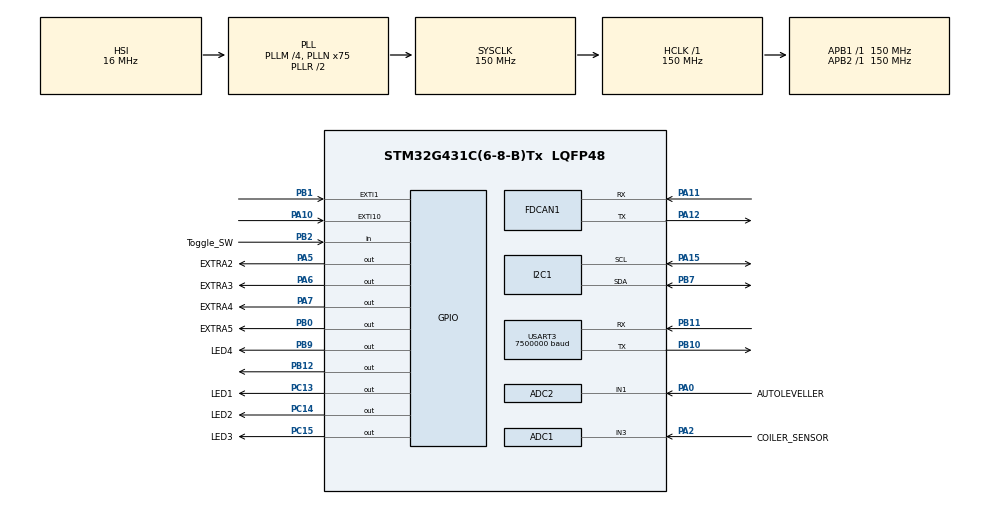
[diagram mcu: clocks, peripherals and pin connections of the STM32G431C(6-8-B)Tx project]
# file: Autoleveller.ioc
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ADC1.Channel-1\#ChannelRegularConversion=ADC_CHANNEL_3
ADC1.ContinuousConvMode=ENABLE
ADC1.DMAAccessModeView=ENABLE
ADC1.DMAContinuousRequests=DISABLE
ADC1.EOCSelection=ADC_EOC_SEQ_CONV
ADC1.EnableInjectedConversion=DISABLE
ADC1.ExternalTrigConv=ADC_SOFTWARE_START
ADC1.Mode=ADC_DUALMODE_REGSIMULT
ADC1.NbrOfConversion=1
ADC1.NbrOfConversionFlag=1
ADC1.OffsetNumber-1\#ChannelRegularConversion=ADC_OFFSET_NONE
ADC1.Overrun=ADC_OVR_DATA_PRESERVED
ADC1.OversamplingMode=DISABLE
ADC1.Rank-1\#ChannelRegularConversion=1
ADC1.SamplingTime-1\#ChannelRegularConversion=ADC_SAMPLETIME_47CYCLES_5
ADC1.master=1
ADC2.Channel-2\#ChannelRegularConversion=ADC_CHANNEL_1
ADC2.DMAAccessModeView=ENABLE
ADC2.EOCSelection=ADC_EOC_SEQ_CONV
ADC2.EnableAnalogWatchDog1=false
ADC2.EnableInjectedConversion=DISABLE
ADC2.EnableInjectedOversampling=DISABLE
ADC2.Mode=ADC_DUALMODE_REGSIMULT
ADC2.NbrOfConversionFlag=1
ADC2.OffsetNumber-2\#ChannelRegularConversion=ADC_OFFSET_NONE
ADC2.Rank-2\#ChannelRegularConversion=1
ADC2.Rank1_Channel=ADC_CHANNEL_1
ADC2.SamplingTime-2\#ChannelRegularConversion=ADC_SAMPLETIME_47CYCLES_5
Dma.ADC1.0.Direction=DMA_PERIPH_TO_MEMORY
Dma.ADC1.0.EventEnable=DISABLE
Dma.ADC1.0.Instance=DMA1_Channel1
Dma.ADC1.0.MemDataAlignment=DMA_MDATAALIGN_WORD
Dma.ADC1.0.MemInc=DMA_MINC_ENABLE
Dma.ADC1.0.Mode=DMA_CIRCULAR
Dma.ADC1.0.PeriphDataAlignment=DMA_PDATAALIGN_WORD
Dma.ADC1.0.PeriphInc=DMA_PINC_DISABLE
Dma.ADC1.0.Polarity=HAL_DMAMUX_REQ_GEN_RISING
Dma.ADC1.0.Priority=DMA_PRIORITY_LOW
Dma.ADC1.0.RequestNumber=1
Dma.ADC1.0.SignalID=NONE
Dma.ADC1.0.SyncEnable=DISABLE
Dma.ADC1.0.SyncPolarity=HAL_DMAMUX_SYNC_NO_EVENT
Dma.ADC1.0.SyncRequestNumber=1
Dma.ADC1.0.SyncSignalID=NONE
Dma.Request0=ADC1
FDCAN1.AutoRetransmission=ENABLE
FDCAN1.CalculateBaudRateNominal=499999
FDCAN1.CalculateTimeBitNominal=2000
FDCAN1.CalculateTimeQuantumNominal=66.66666666666667
FDCAN1.ClockDivider=FDCAN_CLOCK_DIV10
FDCAN1.DataSyncJumpWidth=3
FDCAN1.DataTimeSeg1=11
FDCAN1.DataTimeSeg2=3
FDCAN1.ExtFiltersNbr=1
FDCAN1.FrameFormat=FDCAN_FRAME_FD_BRS
FDCAN1.NominalPrescaler=1
FDCAN1.NominalSyncJumpWidth=6
FDCAN1.NominalTimeSeg1=23
FDCAN1.NominalTimeSeg2=6
FDCAN1.ProtocolException=DISABLE
FDCAN1.StdFiltersNbr=1
FDCAN1.TransmitPause=ENABLE
I2C1.Timing=0x20C0EDFF
Mcu.Family=STM32G4
Mcu.Name=STM32G431C(6-8-B)Tx
Mcu.Package=LQFP48
NVIC.ADC1_2_IRQn=true\:0\:0\:false\:false\:true\:true\:true\:true
NVIC.DMA1_Channel1_IRQn=true\:0\:0\:false\:false\:true\:false\:true\:true
NVIC.EXTI15_10_IRQn=true\:2\:0\:true\:false\:true\:true\:true\:true
NVIC.EXTI1_IRQn=true\:2\:0\:true\:false\:true\:true\:true\:true
NVIC.FDCAN1_IT0_IRQn=true\:0\:0\:false\:false\:true\:true\:true\:true
NVIC.FDCAN1_IT1_IRQn=true\:0\:0\:false\:false\:true\:true\:true\:true
NVIC.PriorityGroup=NVIC_PRIORITYGROUP_4
NVIC.USART3_IRQn=true\:0\:0\:false\:false\:true\:true\:true\:true
PA0.GPIO_Label=AUTOLEVELLER
PA0.Mode=IN1-Single-Ended
PA0.Signal=ADC2_IN1
PA10.GPIO_ModeDefaultEXTI=GPIO_MODE_IT_RISING_FALLING
PA10.GPIO_PuPd=GPIO_NOPULL
PA10.Signal=GPXTI10
PA11.Mode=FDCAN_Activate
PA11.Signal=FDCAN1_RX
PA12.Mode=FDCAN_Activate
PA12.Signal=FDCAN1_TX
PA13.Mode=Serial_Wire
PA13.Signal=SYS_JTMS-SWDIO
PA14.Mode=Serial_Wire
PA14.Signal=SYS_JTCK-SWCLK
PA15.Mode=I2C
PA15.Signal=I2C1_SCL
PA2.GPIO_Label=COILER_SENSOR
PA2.Mode=IN3-Single-Ended
PA2.Signal=ADC1_IN3
PA4.Signal=COMP_DAC11_group
PA5.GPIO_Label=EXTRA2
PA5.Signal=GPIO_Output
PA6.GPIO_Label=EXTRA3
PA6.Signal=GPIO_Output
PA7.GPIO_Label=EXTRA4
PA7.Signal=GPIO_Output
PB0.GPIO_Label=EXTRA5
PB0.Signal=GPIO_Output
PB1.GPIO_ModeDefaultEXTI=GPIO_MODE_IT_RISING_FALLING
PB1.Signal=GPXTI1
PB10.Mode=Asynchronous
PB10.Signal=USART3_TX
PB11.Mode=Asynchronous
PB11.Signal=USART3_RX
PB12.Signal=GPIO_Output
PB2.GPIO_Label=Toggle_SW
PB2.GPIO_PuPd=GPIO_PULLUP
PB2.Signal=GPIO_Input
PB7.Mode=I2C
PB7.Signal=I2C1_SDA
PB9.GPIO_Label=LED4
PB9.Signal=GPIO_Output
PC13.GPIO_Label=LED1
PC13.GPIO_ModeDefaultOutputPP=GPIO_MODE_OUTPUT_PP
PC13.GPIO_PuPd=GPIO_NOPULL
PC13.Signal=GPIO_Output
PC14-OSC32_IN.GPIO_Label=LED2
PC14-OSC32_IN.Signal=GPIO_Output
PC15-OSC32_OUT.GPIO_Label=LED3
PC15-OSC32_OUT.GPIO_ModeDefaultOutputPP=GPIO_MODE_OUTPUT_PP
PC15-OSC32_OUT.GPIO_PuPd=GPIO_NOPULL
PC15-OSC32_OUT.Signal=GPIO_Output
PF0-OSC_IN.Mode=HSE-External-Oscillator
PF0-OSC_IN.Signal=RCC_OSC_IN
PF1-OSC_OUT.Mode=HSE-External-Oscillator
PF1-OSC_OUT.Signal=RCC_OSC_OUT
ProjectManager.HeapSize=0x200
ProjectManager.StackSize=0x400
ProjectManager.TargetToolchain=STM32CubeIDE
RCC.ADC12Freq_Value=150000000
RCC.AHBFreq_Value=150000000
RCC.APB1Freq_Value=150000000
RCC.APB1TimFreq_Value=150000000
RCC.APB2Freq_Value=150000000
RCC.APB2TimFreq_Value=150000000
RCC.CortexFreq_Value=150000000
RCC.EXTERNAL_CLOCK_VALUE=12288000
RCC.HCLKFreq_Value=150000000
RCC.HSE_VALUE=16000000
RCC.HSI48_VALUE=48000000
RCC.HSI_VALUE=16000000
RCC.LSE_VALUE=32768
RCC.PLLM=RCC_PLLM_DIV4
RCC.PLLN=75
RCC.SYSCLKFreq_VALUE=150000000
RCC.SYSCLKSource=RCC_SYSCLKSOURCE_PLLCLK
RCC.USBFreq_Value=150000000
RCC.VCOOutputFreq_Value=300000000
SH.COMP_DAC11_group.0=DAC1_OUT1
USART3.BaudRate=7500000
USART3.Mode=MODE_TX
USART3.VirtualMode-Asynchronous=VM_ASYNC
VP_SYS_VS_DBSignals.Mode=DisableDeadBatterySignals
board=custom

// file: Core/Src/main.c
/* USER CODE BEGIN Header */
/**
  ******************************************************************************
  * @file           : main.c
  * @brief          : Main program body
  ******************************************************************************
  * @attention
  *
  * Copyright (c) 2024 STMicroelectronics.
  * All rights reserved.
  *
  * This software is licensed under terms that can be found in the LICENSE file
  * in the root directory of this software component.
  * If no LICENSE file comes with this software, it is provided AS-IS.
  *
  ******************************************************************************
  */
/* USER CODE END Header */
#include "main.h"

/* USER CODE BEGIN Includes */
#include <stdio.h>
#include "CAN_AutoLeveller.h"
#include"FDCAN.h"
/* USER CODE END Includes */

ADC_HandleTypeDef hadc1;
ADC_HandleTypeDef hadc2;
DMA_HandleTypeDef hdma_adc1;

FDCAN_HandleTypeDef hfdcan1;

I2C_HandleTypeDef hi2c1;

UART_HandleTypeDef huart3;

/* USER CODE BEGIN PV */
SensorTypeDef S;

/* USER CODE END PV */

void SystemClock_Config(void);
static void MX_GPIO_Init(void);
static void MX_DMA_Init(void);
static void MX_FDCAN1_Init(void);
static void MX_ADC2_Init(void);
static void MX_ADC1_Init(void);
static void MX_I2C1_Init(void);
static void MX_USART3_UART_Init(void);

/* USER CODE BEGIN 0 */
uint32_t adcBuffer[180]; // 32 bit buffer, 180 readings totally. hald conv callback at 90

uint32_t dualValue =0;
uint16_t autoLeveller=0;
uint16_t coilerSensor=0;
uint8_t adcRunning = 0;

char uartMsg[128];
int len;

volatile GPIO_PinState pinState;
volatile uint8_t toggle_state = 0;

void HAL_GPIO_EXTI_Callback(uint16_t GPIO_Pin)
{
    if (GPIO_Pin == GPIO_PIN_1)
    {
        GPIO_PinState state = HAL_GPIO_ReadPin(GPIOB, GPIO_PIN_1);

        if (state == GPIO_PIN_SET && adcRunning == 0)
        {

            adcRunning = 1;

            HAL_GPIO_WritePin(GPIOC, LED2_Pin, GPIO_PIN_RESET);

            HAL_ADC_Start(&hadc2);
            HAL_ADCEx_MultiModeStart_DMA(&hadc1, (uint32_t*)adcBuffer, 180);

        }
        else if (state == GPIO_PIN_RESET && adcRunning == 1)
        {

            adcRunning = 0;

            HAL_ADCEx_MultiModeStop_DMA(&hadc1);
            HAL_ADC_Stop(&hadc2);
            HAL_GPIO_WritePin(GPIOC, LED2_Pin, GPIO_PIN_SET);
        }
    }
}

void HAL_ADC_ConvCpltCallback(ADC_HandleTypeDef* hadc)
{
    if (hadc->Instance == ADC1 && adcRunning)
    {

        dualValue = HAL_ADCEx_MultiModeGetValue(hadc);

        autoLeveller = (uint16_t)(dualValue >> 16);
        coilerSensor= (uint16_t)(dualValue);
        S.coilerSensor =coilerSensor;
	    S.scanningSensor= autoLeveller;
	    FDCAN_SendSensorvalues_ToMotor();
        len = snprintf(uartMsg, sizeof(uartMsg),
                       "%d,%d\r\n",
                       autoLeveller, coilerSensor);

        HAL_UART_Transmit_IT(&huart3, (uint8_t*)uartMsg, len);

    }
}

/* USER CODE END 0 */

int main(void)
{

  /* MCU Configuration--------------------------------------------------------*/

  /* Reset of all peripherals, Initializes the Flash interface and the Systick. */
  HAL_Init();

  /* Configure the system clock */
  SystemClock_Config();

  /* Initialize all configured peripherals */
  MX_GPIO_Init();
  MX_DMA_Init();
  MX_FDCAN1_Init();
  MX_ADC2_Init();
  MX_ADC1_Init();
  MX_I2C1_Init();
  MX_USART3_UART_Init();
  /* USER CODE BEGIN 2 */
  FDCAN_TxInit();
  HAL_ADCEx_Calibration_Start(&hadc1,ADC_SINGLE_ENDED);
  HAL_Delay(10);
  HAL_ADCEx_Calibration_Start(&hadc2,ADC_SINGLE_ENDED);
  HAL_Delay(10);

  /* USER CODE END 2 */

  /* Infinite loop */
  while (1)
  {

	  }
}

void SystemClock_Config(void)
{
  RCC_OscInitTypeDef RCC_OscInitStruct = {0};
  RCC_ClkInitTypeDef RCC_ClkInitStruct = {0};

  /** Configure the main internal regulator output voltage
  */
  HAL_PWREx_ControlVoltageScaling(PWR_REGULATOR_VOLTAGE_SCALE1);

  /** Initializes the RCC Oscillators according to the specified parameters
  * in the RCC_OscInitTypeDef structure.
  */
  RCC_OscInitStruct.OscillatorType = RCC_OSCILLATORTYPE_HSI;
  RCC_OscInitStruct.HSIState = RCC_HSI_ON;
  RCC_OscInitStruct.HSICalibrationValue = RCC_HSICALIBRATION_DEFAULT;
  RCC_OscInitStruct.PLL.PLLState = RCC_PLL_ON;
  RCC_OscInitStruct.PLL.PLLSource = RCC_PLLSOURCE_HSI;
  RCC_OscInitStruct.PLL.PLLM = RCC_PLLM_DIV4;
  RCC_OscInitStruct.PLL.PLLN = 75;
  RCC_OscInitStruct.PLL.PLLP = RCC_PLLP_DIV2;
  RCC_OscInitStruct.PLL.PLLQ = RCC_PLLQ_DIV2;
  RCC_OscInitStruct.PLL.PLLR = RCC_PLLR_DIV2;
  if (HAL_RCC_OscConfig(&RCC_OscInitStruct) != HAL_OK)
  {
    Error_Handler();
  }

  /** Initializes the CPU, AHB and APB buses clocks
  */
  RCC_ClkInitStruct.ClockType = RCC_CLOCKTYPE_HCLK|RCC_CLOCKTYPE_SYSCLK
                              |RCC_CLOCKTYPE_PCLK1|RCC_CLOCKTYPE_PCLK2;
  RCC_ClkInitStruct.SYSCLKSource = RCC_SYSCLKSOURCE_PLLCLK;
  RCC_ClkInitStruct.AHBCLKDivider = RCC_SYSCLK_DIV1;
  RCC_ClkInitStruct.APB1CLKDivider = RCC_HCLK_DIV1;
  RCC_ClkInitStruct.APB2CLKDivider = RCC_HCLK_DIV1;

  if (HAL_RCC_ClockConfig(&RCC_ClkInitStruct, FLASH_LATENCY_4) != HAL_OK)
  {
    Error_Handler();
  }
}

static void MX_ADC1_Init(void)
{

  ADC_MultiModeTypeDef multimode = {0};
  ADC_ChannelConfTypeDef sConfig = {0};

  /** Common config
  */
  hadc1.Instance = ADC1;
  hadc1.Init.ClockPrescaler = ADC_CLOCK_SYNC_PCLK_DIV4;
  hadc1.Init.Resolution = ADC_RESOLUTION_12B;
  hadc1.Init.DataAlign = ADC_DATAALIGN_RIGHT;
  hadc1.Init.GainCompensation = 0;
  hadc1.Init.ScanConvMode = ADC_SCAN_DISABLE;
  hadc1.Init.EOCSelection = ADC_EOC_SEQ_CONV;
  hadc1.Init.LowPowerAutoWait = DISABLE;
  hadc1.Init.ContinuousConvMode = ENABLE;
  hadc1.Init.NbrOfConversion = 1;
  hadc1.Init.DiscontinuousConvMode = DISABLE;
  hadc1.Init.ExternalTrigConv = ADC_SOFTWARE_START;
  hadc1.Init.ExternalTrigConvEdge = ADC_EXTERNALTRIGCONVEDGE_NONE;
  hadc1.Init.DMAContinuousRequests = DISABLE;
  hadc1.Init.Overrun = ADC_OVR_DATA_PRESERVED;
  hadc1.Init.OversamplingMode = DISABLE;
  if (HAL_ADC_Init(&hadc1) != HAL_OK)
  {
    Error_Handler();
  }

  /** Configure the ADC multi-mode
  */
  multimode.Mode = ADC_DUALMODE_REGSIMULT;
  multimode.DMAAccessMode = ADC_DMAACCESSMODE_12_10_BITS;
  multimode.TwoSamplingDelay = ADC_TWOSAMPLINGDELAY_1CYCLE;
  if (HAL_ADCEx_MultiModeConfigChannel(&hadc1, &multimode) != HAL_OK)
  {
    Error_Handler();
  }

  /** Configure Regular Channel
  */
  sConfig.Channel = ADC_CHANNEL_3;
  sConfig.Rank = ADC_REGULAR_RANK_1;
  sConfig.SamplingTime = ADC_SAMPLETIME_47CYCLES_5;
  sConfig.SingleDiff = ADC_SINGLE_ENDED;
  sConfig.OffsetNumber = ADC_OFFSET_NONE;
  sConfig.Offset = 0;
  if (HAL_ADC_ConfigChannel(&hadc1, &sConfig) != HAL_OK)
  {
    Error_Handler();
  }

}

static void MX_ADC2_Init(void)
{

  ADC_ChannelConfTypeDef sConfig = {0};

  /** Common config
  */
  hadc2.Instance = ADC2;
  hadc2.Init.ClockPrescaler = ADC_CLOCK_SYNC_PCLK_DIV4;
  hadc2.Init.Resolution = ADC_RESOLUTION_12B;
  hadc2.Init.DataAlign = ADC_DATAALIGN_RIGHT;
  hadc2.Init.GainCompensation = 0;
  hadc2.Init.ScanConvMode = ADC_SCAN_DISABLE;
  hadc2.Init.EOCSelection = ADC_EOC_SEQ_CONV;
  hadc2.Init.LowPowerAutoWait = DISABLE;
  hadc2.Init.ContinuousConvMode = ENABLE;
  hadc2.Init.NbrOfConversion = 1;
  hadc2.Init.DiscontinuousConvMode = DISABLE;
  hadc2.Init.DMAContinuousRequests = DISABLE;
  hadc2.Init.Overrun = ADC_OVR_DATA_PRESERVED;
  hadc2.Init.OversamplingMode = DISABLE;
  if (HAL_ADC_Init(&hadc2) != HAL_OK)
  {
    Error_Handler();
  }

  /** Configure Regular Channel
  */
  sConfig.Channel = ADC_CHANNEL_1;
  sConfig.Rank = ADC_REGULAR_RANK_1;
  sConfig.SamplingTime = ADC_SAMPLETIME_47CYCLES_5;
  sConfig.SingleDiff = ADC_SINGLE_ENDED;
  sConfig.OffsetNumber = ADC_OFFSET_NONE;
  sConfig.Offset = 0;
  if (HAL_ADC_ConfigChannel(&hadc2, &sConfig) != HAL_OK)
  {
    Error_Handler();
  }

}

static void MX_FDCAN1_Init(void)
{

  hfdcan1.Instance = FDCAN1;
  hfdcan1.Init.ClockDivider = FDCAN_CLOCK_DIV10;
  hfdcan1.Init.FrameFormat = FDCAN_FRAME_FD_BRS;
  hfdcan1.Init.Mode = FDCAN_MODE_NORMAL;
  hfdcan1.Init.AutoRetransmission = ENABLE;
  hfdcan1.Init.TransmitPause = ENABLE;
  hfdcan1.Init.ProtocolException = DISABLE;
  hfdcan1.Init.NominalPrescaler = 1;
  hfdcan1.Init.NominalSyncJumpWidth = 6;
  hfdcan1.Init.NominalTimeSeg1 = 23;
  hfdcan1.Init.NominalTimeSeg2 = 6;
  hfdcan1.Init.DataPrescaler = 1;
  hfdcan1.Init.DataSyncJumpWidth = 3;
  hfdcan1.Init.DataTimeSeg1 = 11;
  hfdcan1.Init.DataTimeSeg2 = 3;
  hfdcan1.Init.StdFiltersNbr = 1;
  hfdcan1.Init.ExtFiltersNbr = 1;
  hfdcan1.Init.TxFifoQueueMode = FDCAN_TX_FIFO_OPERATION;
  if (HAL_FDCAN_Init(&hfdcan1) != HAL_OK)
  {
    Error_Handler();
  }

}

static void MX_I2C1_Init(void)
{

  hi2c1.Instance = I2C1;
  hi2c1.Init.Timing = 0x20C0EDFF;
  hi2c1.Init.OwnAddress1 = 0;
  hi2c1.Init.AddressingMode = I2C_ADDRESSINGMODE_7BIT;
  hi2c1.Init.DualAddressMode = I2C_DUALADDRESS_DISABLE;
  hi2c1.Init.OwnAddress2 = 0;
  hi2c1.Init.OwnAddress2Masks = I2C_OA2_NOMASK;
  hi2c1.Init.GeneralCallMode = I2C_GENERALCALL_DISABLE;
  hi2c1.Init.NoStretchMode = I2C_NOSTRETCH_DISABLE;
  if (HAL_I2C_Init(&hi2c1) != HAL_OK)
  {
    Error_Handler();
  }

  /** Configure Analogue filter
  */
  if (HAL_I2CEx_ConfigAnalogFilter(&hi2c1, I2C_ANALOGFILTER_ENABLE) != HAL_OK)
  {
    Error_Handler();
  }

  /** Configure Digital filter
  */
  if (HAL_I2CEx_ConfigDigitalFilter(&hi2c1, 0) != HAL_OK)
  {
    Error_Handler();
  }

}

static void MX_USART3_UART_Init(void)
{

  huart3.Instance = USART3;
  huart3.Init.BaudRate = 7500000;
  huart3.Init.WordLength = UART_WORDLENGTH_8B;
  huart3.Init.StopBits = UART_STOPBITS_1;
  huart3.Init.Parity = UART_PARITY_NONE;
  huart3.Init.Mode = UART_MODE_TX;
  huart3.Init.HwFlowCtl = UART_HWCONTROL_NONE;
  huart3.Init.OverSampling = UART_OVERSAMPLING_16;
  huart3.Init.OneBitSampling = UART_ONE_BIT_SAMPLE_DISABLE;
  huart3.Init.ClockPrescaler = UART_PRESCALER_DIV1;
  huart3.AdvancedInit.AdvFeatureInit = UART_ADVFEATURE_NO_INIT;
  if (HAL_UART_Init(&huart3) != HAL_OK)
  {
    Error_Handler();
  }
  if (HAL_UARTEx_SetTxFifoThreshold(&huart3, UART_TXFIFO_THRESHOLD_1_8) != HAL_OK)
  {
    Error_Handler();
  }
  if (HAL_UARTEx_SetRxFifoThreshold(&huart3, UART_RXFIFO_THRESHOLD_1_8) != HAL_OK)
  {
    Error_Handler();
  }
  if (HAL_UARTEx_DisableFifoMode(&huart3) != HAL_OK)
  {
    Error_Handler();
  }

}

static void MX_DMA_Init(void)
{

  /* DMA controller clock enable */
  __HAL_RCC_DMAMUX1_CLK_ENABLE();
  __HAL_RCC_DMA1_CLK_ENABLE();

  /* DMA interrupt init */
  /* DMA1_Channel1_IRQn interrupt configuration */
  HAL_NVIC_SetPriority(DMA1_Channel1_IRQn, 0, 0);
  HAL_NVIC_EnableIRQ(DMA1_Channel1_IRQn);

}

static void MX_GPIO_Init(void)
{
  GPIO_InitTypeDef GPIO_InitStruct = {0};

  /* GPIO Ports Clock Enable */
  __HAL_RCC_GPIOC_CLK_ENABLE();
  __HAL_RCC_GPIOF_CLK_ENABLE();
  __HAL_RCC_GPIOA_CLK_ENABLE();
  __HAL_RCC_GPIOB_CLK_ENABLE();

  /*Configure GPIO pin Output Level */
  HAL_GPIO_WritePin(GPIOC, LED1_Pin|LED2_Pin|LED3_Pin, GPIO_PIN_RESET);

  /*Configure GPIO pin Output Level */
  HAL_GPIO_WritePin(GPIOA, EXTRA2_Pin|EXTRA3_Pin|EXTRA4_Pin, GPIO_PIN_RESET);

  /*Configure GPIO pin Output Level */
  HAL_GPIO_WritePin(GPIOB, EXTRA5_Pin|GPIO_PIN_12|LED4_Pin, GPIO_PIN_RESET);

  /*Configure GPIO pins : LED1_Pin LED2_Pin LED3_Pin */
  GPIO_InitStruct.Pin = LED1_Pin|LED2_Pin|LED3_Pin;
  GPIO_InitStruct.Mode = GPIO_MODE_OUTPUT_PP;
  GPIO_InitStruct.Pull = GPIO_NOPULL;
  GPIO_InitStruct.Speed = GPIO_SPEED_FREQ_LOW;
  HAL_GPIO_Init(GPIOC, &GPIO_InitStruct);

  /*Configure GPIO pin : PA4 */
  GPIO_InitStruct.Pin = GPIO_PIN_4;
  GPIO_InitStruct.Mode = GPIO_MODE_ANALOG;
  GPIO_InitStruct.Pull = GPIO_NOPULL;
  HAL_GPIO_Init(GPIOA, &GPIO_InitStruct);

  /*Configure GPIO pins : EXTRA2_Pin EXTRA3_Pin EXTRA4_Pin */
  GPIO_InitStruct.Pin = EXTRA2_Pin|EXTRA3_Pin|EXTRA4_Pin;
  GPIO_InitStruct.Mode = GPIO_MODE_OUTPUT_PP;
  GPIO_InitStruct.Pull = GPIO_NOPULL;
  GPIO_InitStruct.Speed = GPIO_SPEED_FREQ_LOW;
  HAL_GPIO_Init(GPIOA, &GPIO_InitStruct);

  /*Configure GPIO pins : EXTRA5_Pin PB12 LED4_Pin */
  GPIO_InitStruct.Pin = EXTRA5_Pin|GPIO_PIN_12|LED4_Pin;
  GPIO_InitStruct.Mode = GPIO_MODE_OUTPUT_PP;
  GPIO_InitStruct.Pull = GPIO_NOPULL;
  GPIO_InitStruct.Speed = GPIO_SPEED_FREQ_LOW;
  HAL_GPIO_Init(GPIOB, &GPIO_InitStruct);

  /*Configure GPIO pin : PB1 */
  GPIO_InitStruct.Pin = GPIO_PIN_1;
  GPIO_InitStruct.Mode = GPIO_MODE_IT_RISING_FALLING;
  GPIO_InitStruct.Pull = GPIO_NOPULL;
  HAL_GPIO_Init(GPIOB, &GPIO_InitStruct);

  /*Configure GPIO pin : Toggle_SW_Pin */
  GPIO_InitStruct.Pin = Toggle_SW_Pin;
  GPIO_InitStruct.Mode = GPIO_MODE_INPUT;
  GPIO_InitStruct.Pull = GPIO_PULLUP;
  HAL_GPIO_Init(Toggle_SW_GPIO_Port, &GPIO_InitStruct);

  /*Configure GPIO pin : PA10 */
  GPIO_InitStruct.Pin = GPIO_PIN_10;
  GPIO_InitStruct.Mode = GPIO_MODE_IT_RISING_FALLING;
  GPIO_InitStruct.Pull = GPIO_NOPULL;
  HAL_GPIO_Init(GPIOA, &GPIO_InitStruct);

  /* EXTI interrupt init*/
  HAL_NVIC_SetPriority(EXTI1_IRQn, 2, 0);
  HAL_NVIC_EnableIRQ(EXTI1_IRQn);

  HAL_NVIC_SetPriority(EXTI15_10_IRQn, 2, 0);
  HAL_NVIC_EnableIRQ(EXTI15_10_IRQn);

}

void Error_Handler(void)
{
  __disable_irq();
  while (1)
  {
  }
}
